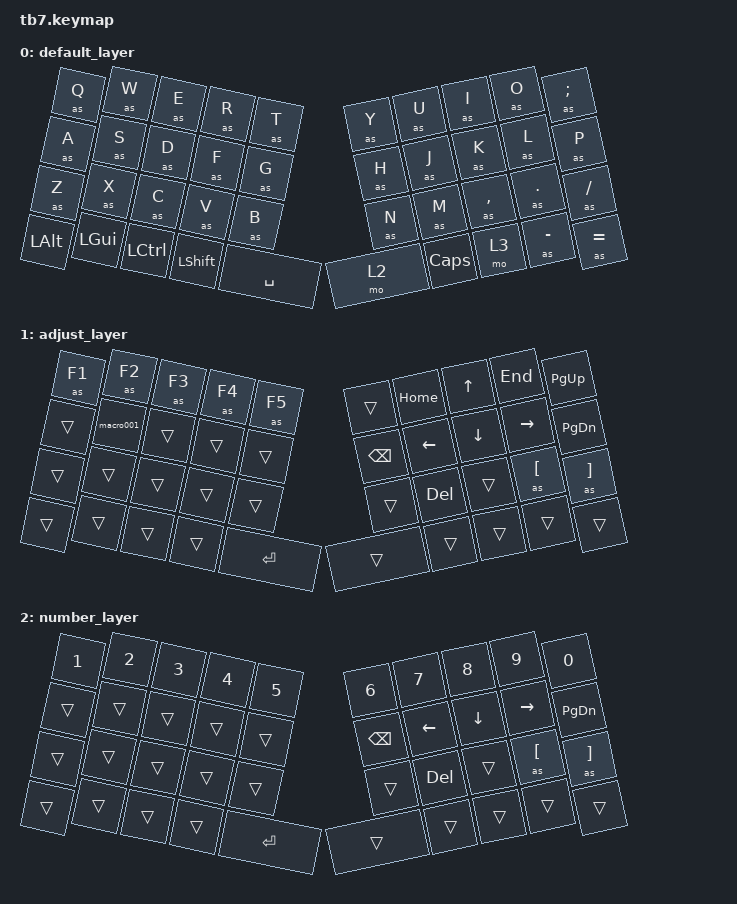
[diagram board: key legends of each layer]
// This file was generated from a template. Edit it to match your keyboard.
// See https://zmk.dev/docs/development/hardware-integration/new-shield for more instructions.

#include <behaviors.dtsi>
#include <dt-bindings/zmk/keys.h>
#include <dt-bindings/zmk/bt.h>

#define STRINGIFY(x) #x
#define EXPAND_AND_STRINGIFY(x) STRINGIFY(x)
#define MACRO(NAME, BINDINGS) 

// #include <dt-bindings/zmk/pointing.h>
// #define ZMK_POINTING_DEFAULT_MOVE_VAL 600  // default: 600
// #define ZMK_POINTING_DEFAULT_SCRL_VAL 50    // default: 10
// #includeのあとのあたりにスクロール量変更の定義を追記
// #define ZMK_POINTING_DEFAULT_SCRL_VAL 500
// 80 에서 200 -> 500 으로 늘렸음. 스크롤이 너무 느렸음.
// 효과가 있다. 아직도 좀 느리긴 하지만.


// Autoshift Macro
// #define AS(keycode) &as LS(keycode) keycode     
// 위 오토시프트 매크로는 대문자가 된 후에도 연속으로 눌린 상태여서 사용하기 불편함.

/{

behaviors {
    as_ht: autoshift_hold_tap {
      compatible = "zmk,behavior-hold-tap";
      label = "AUTOSHIFT_HOLD_TAP";
      #binding-cells = <2>;
      tapping-term-ms = <175>;
      bindings = <&shifted>, <&kp>;
    };
  };



// 오토시프트를 위한 매크로 정의. 키맵에서 &as Q 형태로 사용 가능
macros {
    shifted: macro_shifted_kp {
      #binding-cells = <1>;
      label = "MACRO_SHIFTED_KP";
      compatible = "zmk,behavior-macro-one-param";
      bindings =
        <&macro_press &kp LSHFT>,
        <&macro_param_1to1 &macro_tap &kp MACRO_PLACEHOLDER>,
        <&macro_release &kp LSHFT>;
    };

as: autoshift {
      compatible = "zmk,behavior-macro-one-param";
      #binding-cells = <1>;
      label = "AUTOSHIFT_KP";
      bindings =
        <&macro_press>,
        <&macro_param_1to1>,
        <&macro_param_1to2>,
        <&as_ht MACRO_PLACEHOLDER MACRO_PLACEHOLDER>,
        <&macro_pause_for_release>,
        <&macro_release>,
        <&macro_param_1to1>,
        <&macro_param_1to2>,
        <&as_ht MACRO_PLACEHOLDER MACRO_PLACEHOLDER>;
    };

    // 일반 매크로 정의.
macro001: macro001 {
            compatible = "zmk,behavior-macro";
            #binding-cells = <0>;
            wait-ms = <20>;
            tap-ms = <10>;
            bindings =
                <&macro_press &kp LGUI>,
                <&macro_press &kp LCTRL>,
                <&macro_tap &kp LEFT>,
                <&macro_release &kp LCTRL>,
                <&macro_release &kp LGUI>;
        };
  };



/*
// 엔코더 정의 예시. 필요에 따라 선택하여 사용.
behaviors {
       encoder_msc_down_up: encoder_msc_down_up {
           compatible = "zmk,behavior-sensor-rotate";
           label = "ENCODER_MSC_DOWN_UP";
           #sensor-binding-cells = <0>;
           bindings = <&msc SCRL_DOWN>, <&msc SCRL_UP>;
           tap-ms = <20>;
       };
};

behaviors {
       encoder_msc_down_up: encoder_msc_down_up {
           compatible = "zmk,behavior-sensor-rotate-var";
           label = "ENCODER_MSC_DOWN_UP";
           #sensor-binding-cells = <2>;
           bindings = <&msc>, <&msc>;
           tap-ms = <20>;
       };
};

*/




combos {
        compatible = "zmk,combos";
        combo_esc {
            timeout-ms = <50>;
            key-positions = <2 3>;    // 'W' 키와 'E' 키의 물리적 위치 번호
            bindings = <&kp ESC>;       // 발동될 키
            layers = <0>;               // 0번(기본) 레이어에서만 작동
        };
        
        combo_enter {
            timeout-ms = <100>;
            key-positions = <18 19>;    // 'K' 키와 'L' 키의 위치 번호
            bindings = <&kp ENTER>;      // Enter 발동
            layers = <0>;               // 0번(기본) 레이어에서만 작동
        };

        combo_delete {
            timeout-ms = <100>;
            key-positions = <27 28>;    // 'M' 키와 ',' 키의 위치 번호
            bindings = <&kp DELETE>;      // Delete 발동
            layers = <0>;               // 0번(기본) 레이어에서만 작동
        };
    };



keymap {
    compatible = "zmk,keymap";
    
    // 0번 레이어
    default_layer {
//        display-name = "Base";
        bindings = <
// ╭───────────────┬────────────────┬───────────────┬───────────────┬─────────────╮      ╭───────────────┬───────────────┬───────────────┬─────────────────┬──────────────────╮
     &as Q           &as W            	&as E           &as R            &as T   	          	&as Y       &as U           &as I           &as O 			&as SEMICOLON
// ├───────────────┼────────────────┼───────────────┼───────────────┼─────────────┤      ├───────────────┼───────────────┼───────────────┼─────────────────┼──────────────────┤
     &as A           &as S            	&as D           &as F            &as G       	    	&as H       &as J           &as K           &as L			&as P
// ├───────────────┼────────────────┼───────────────┼───────────────┼─────────────┤      ├───────────────┼───────────────┼───────────────┼─────────────────┼──────────────────┤
     &as Z           &as X            	&as C           &as V            &as B        			&as N		&as M			&as COMMA  		&as DOT			&as SLASH
// ├───────────────┼────────────────┼───────────────┼───────────────┼────────────────┬───────────────────┼───────────────┼───────────────┼─────────────────┼──────────────────┤
     &kp LEFT_ALT    &kp LEFT_GUI 		&kp LCTRL       &kp LSHFT       &kp SPACE    	    	&mo 2		&kp CAPS        &mo 3			&as MINUS 		&as EQUAL
// ╰───────────────┴────────────────┴───────────────┴───────────────┴────────────────┴───────────────────┴───────────────┴───────────────┴─────────────────┴──────────────────╯
        >;
        /* 엔코더 정의 */ 
//        sensor-bindings = <
// 테스트를 위해.             &encoder_msc_down_up SCRL_DOWN  SCRL_UP  &inc_dec_kp C_VOL_UP C_VOL_DN
//              &inc_dec_kp C_VOL_UP C_VOL_DN  &inc_dec_kp C_VOL_UP C_VOL_DN
//        >;
};


    // 1번 레이어        
        adjust_layer {
//            display-name = "Navigation";
            bindings = <
// ╭───────────────┬────────────────┬───────────────┬───────────────┬─────────────╮      ╭───────────────┬───────────────┬───────────────┬─────────────────┬──────────────────╮
        &as F1           &as F2         &as F3          &as F4           &as F5             &trans  		&kp HOME  		&kp UP     		&kp END    		&kp PG_UP
// ├───────────────┼────────────────┼───────────────┼───────────────┼─────────────┤      ├───────────────┼───────────────┼───────────────┼─────────────────┼──────────────────┤
        &trans           &macro001      &trans          &trans           &trans         	&kp BSPC        &kp LEFT    	&kp DOWN        &kp RIGHT		&kp PG_DN      
// ├───────────────┼────────────────┼───────────────┼───────────────┼─────────────┤      ├───────────────┼───────────────┼───────────────┼─────────────────┼──────────────────┤
        &trans           &trans         &trans          &trans           &trans         	&trans       	&kp DEL     	&trans  	    &as LEFT_BRACKET &as RIGHT_BRACKET
// ├───────────────┼────────────────┼───────────────┼───────────────┼────────────────┬───────────────────┼───────────────┼───────────────┼─────────────────┼──────────────────┤
        &trans           &trans         &trans          &trans           &kp ENTER      	&trans        	&trans      	&trans			&trans			&trans
// ╰───────────────┴────────────────┴───────────────┴───────────────┴────────────────┴───────────────────┴───────────────┴───────────────┴─────────────────┴──────────────────╯
            >;
        /* 엔코더 정의 */
//            sensor-bindings = <
//                  &encoder_msc_down_up SCRL_LEFT  SCRL_RIGHT    &inc_dec_kp C_VOL_UP C_VOL_DN
//            >;
};



        // 2번 레이어        
        number_layer {
//            display-name = "Numbers";
            bindings = <
// ╭───────────────┬────────────────┬───────────────┬───────────────┬─────────────╮      ╭───────────────┬───────────────┬───────────────┬─────────────────┬──────────────────╮
        &kp N1           &kp N2         &kp N3          &kp N4           &kp N5				&kp N6          &kp N7          &kp N8          &kp N9          &kp N0
// ├───────────────┼────────────────┼───────────────┼───────────────┼─────────────┤      ├───────────────┼───────────────┼───────────────┼─────────────────┼──────────────────┤
        &trans           &trans         &trans          &trans           &trans         	&kp BSPC        &kp LEFT    	&kp DOWN        &kp RIGHT		&kp PG_DN      
// ├───────────────┼────────────────┼───────────────┼───────────────┼─────────────┤      ├───────────────┼───────────────┼───────────────┼─────────────────┼──────────────────┤
        &trans           &trans         &trans          &trans           &trans         	&trans       	&kp DEL     	&trans   		&as LEFT_BRACKET &as RIGHT_BRACKET
// ├───────────────┼────────────────┼───────────────┼───────────────┼────────────────┬───────────────────┼───────────────┼───────────────┼─────────────────┼──────────────────┤
        &trans           &trans         &trans          &trans           &kp ENTER      	&trans        	&trans      	&trans  		&trans			&trans
// ╰───────────────┴────────────────┴───────────────┴───────────────┴────────────────┴───────────────────┴───────────────┴───────────────┴─────────────────┴──────────────────╯       
            >;

        // 3번 레이어        
        function_layer {
//            display-name = "Numbers";
            bindings = <
// ╭───────────────┬────────────────┬───────────────┬───────────────┬─────────────╮      ╭───────────────┬───────────────┬───────────────┬─────────────────┬──────────────────╮
        &kp F1           &kp F2         &kp F3          &kp F4           &kp F5				&kp F6          &kp F7          &kp F8          &kp F9          &kp F10
// ├───────────────┼────────────────┼───────────────┼───────────────┼─────────────┤      ├───────────────┼───────────────┼───────────────┼─────────────────┼──────────────────┤
        &trans           &trans         &trans          &trans           &trans         	&kp BSPC        &kp LEFT    	&kp DOWN        &kp RIGHT		&kp PG_DN      
// ├───────────────┼────────────────┼───────────────┼───────────────┼─────────────┤      ├───────────────┼───────────────┼───────────────┼─────────────────┼──────────────────┤
        &trans           &trans         &trans          &trans           &trans         	&trans       	&kp DEL     	&trans   		&as LEFT_BRACKET &as RIGHT_BRACKET
// ├───────────────┼────────────────┼───────────────┼───────────────┼────────────────┬───────────────────┼───────────────┼───────────────┼─────────────────┼──────────────────┤
        &trans           &trans         &trans          &trans           &kp ENTER      	&trans        	&trans      	&trans  		&kp F11			&kp F12
// ╰───────────────┴────────────────┴───────────────┴───────────────┴────────────────┴───────────────────┴───────────────┴───────────────┴─────────────────┴──────────────────╯             
            >;


};

        extra1 {
            status = "reserved";
        };
        extra2 {
            status = "reserved";    
        };
        extra3 {
            status = "reserved";    
        };
        extra4 {
            status = "reserved";    
        };
        extra5 {
            status = "reserved";    
        };
        extra6 {
            status = "reserved";    
        };
        extra7 {
            status = "reserved";    
        };        

    };
};
};
